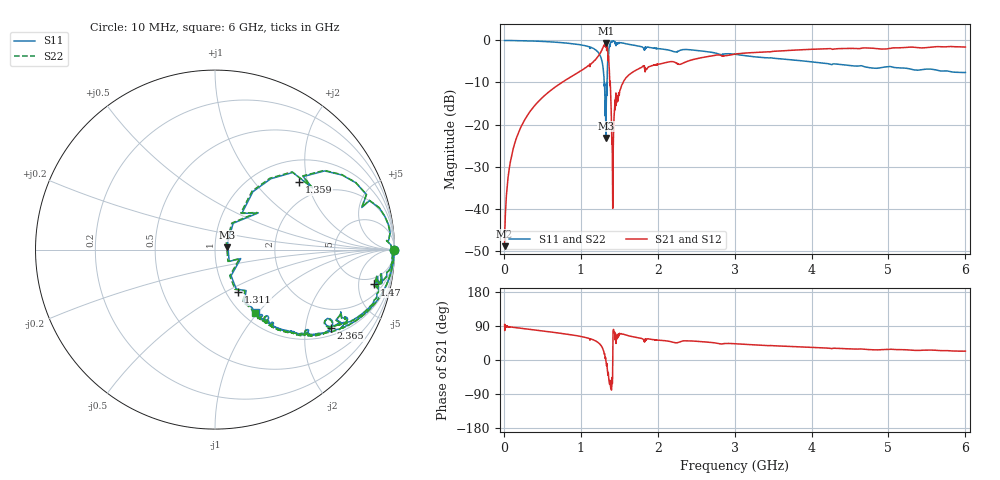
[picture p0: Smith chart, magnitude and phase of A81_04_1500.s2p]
!Agilent Technologies,N5242A,MY49421580,A.09.80.15
!Agilent N5242A: A.09.80.15
!Date: Wednesday, November 24, 2021 03:29:30
!Correction: S11(Full 2 Port(1,2))
!S21(Full 2 Port(1,2))
!S12(Full 2 Port(1,2))
!S22(Full 2 Port(1,2))
!S2P File: Measurements: S11, S21, S12, S22:
# Hz S  RI  R 50
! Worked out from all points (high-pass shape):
!   6001 points, 10 MHz to 6 GHz, reference 50 ohm
!   highest |S21| = -0.61 dB at 1.327 GHz (marker M1); lowest = -48.9 dB at 10 MHz (marker M2)
!   |S21| within 3 dB of the highest: 1.231 GHz to 1.353 GHz (122.2 MHz wide, 9.45 % of centre); 2.892 GHz to end of sweep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
!   lowest |S11| = -23.2 dB at 1.327 GHz (marker M3), VSWR 1.15, Z = 57.3 + j1.56 ohm
!   |S11| at or under -10 dB: 1.305 GHz to 1.342 GHz (36.68 MHz wide, 2.77 % of centre)
!   |S22| runs from -24.1 to 0.0 dB; largest |S21 - S12| = 0.0035
!   S11 on the Smith chart (normalised r, x): 10 MHz: open; 1.311 GHz: 1.14, -0.58; 1.359 GHz: 1.51, +1.77; 1.47 GHz: 3.49, -7.67; 2.365 GHz: 1.23, -2.76; 6 GHz: 1.16, -0.97
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1e7  0.9975 -0.00464  -0.00019 0.00357  -0.000363 0.0039  0.9954 -0.00364
4.793667e7  0.9975 -0.0206  0.00056 0.0204  0.000624 0.0205  0.9965 -0.0208
8.287833e7  0.9967 -0.0361  0.00176 0.0352  0.00165 0.0351  0.9957 -0.0362
2.306317e8  0.9876 -0.0977  0.0109 0.0962  0.0108 0.0965  0.9872 -0.0979
5.111633e8  0.9491 -0.21  0.0505 0.2075  0.0499 0.2076  0.9482 -0.2105
1.009332e9  0.792 -0.3907  0.2076 0.3874  0.2082 0.3875  0.7893 -0.3941
1.24394e9  0.4966 -0.4675  0.5024 0.4642  0.5037 0.4643  0.4911 -0.4724
1.282875e9  0.316 -0.4204  0.684 0.4165  0.6854 0.4153  0.3084 -0.424
1.310828e9  0.1302 -0.2363  0.8692 0.2313  0.8702 0.2296  0.1231 -0.238
1.326802e9  0.068 0.0136  0.9314 -0.0201  0.9316 -0.0211  0.0611 0.0141
1.358748e9  0.4673 0.3747  0.5291 -0.3816  0.5295 -0.3819  0.4644 0.3774
1.394688e9  0.9617 0.1507  0.033 -0.1551  0.0331 -0.1553  0.9608 0.1509
1.412658e9  0.9838 0.0175  0.013 -0.0194  0.0128 -0.0195  0.9832 0.0165
1.432625e9  0.965 -0.12  0.0329 0.1185  0.0328 0.1184  0.964 -0.1232
1.469563e9  0.8864 -0.1941  0.1131 0.19  0.1133 0.1902  0.8836 -0.1949
1.632292e9  0.8218 -0.3552  0.176 0.3507  0.1762 0.351  0.8211 -0.3575
2.006667e9  0.6796 -0.4168  0.3183 0.4111  0.3187 0.4116  0.6777 -0.4209
2.365068e9  0.6455 -0.4383  0.3514 0.4297  0.3517 0.4294  0.6423 -0.4422
3.005e9  0.4929 -0.4749  0.5032 0.468  0.504 0.4679  0.4886 -0.4792
4.004332e9  0.3441 -0.4367  0.6555 0.4298  0.6569 0.43  0.339 -0.4415
5.001667e9  0.2944 -0.3906  0.7024 0.3802  0.7041 0.38  0.2883 -0.3955
6e9  0.2301 -0.3462  0.7665 0.3306  0.7685 0.3302  0.2251 -0.3511
